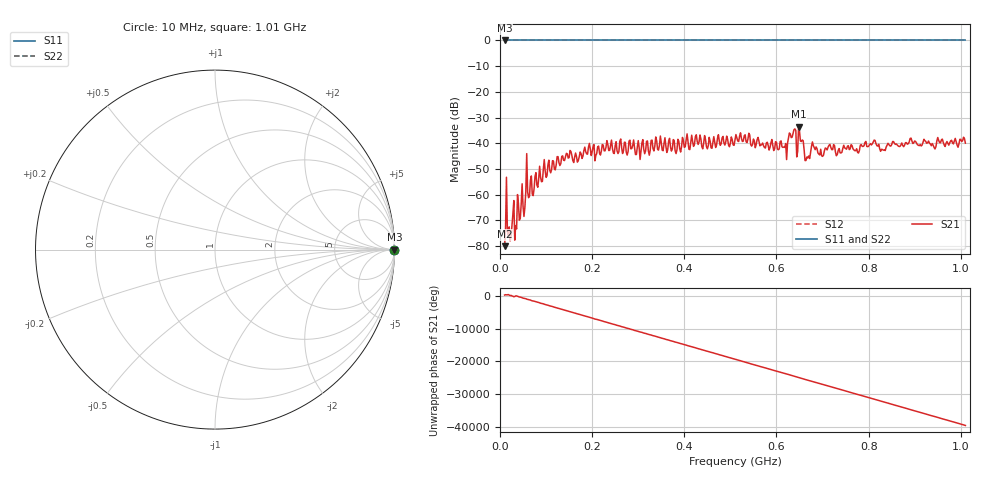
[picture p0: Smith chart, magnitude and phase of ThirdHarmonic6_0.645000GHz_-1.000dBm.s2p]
! 8/15/2025 9:23:03 PM
! C:\ANRITSUVNA\TEMP\TEMP.S2P
! CHANNEL.1
! TR.MEASUREMENT
! RAW.DATA
! RF.CORRECTION.OFF
! AVERAGING.OFF
! IF.BANDWIDTH: 5KHZ
! SWEEPTYPE:  FREQ.SWEEP(Linear)
! Reference Plane Port Info
! PORT:  PORT1  PORT2
! DISTANCE:  0  m  0  m
! TIME:  0  s  0  s
! PHASE.OFFSET:  0  deg.  0  deg.
! LOSS:  0  dB  0  dB
! REF.LOSS:  0  dB  0  dB
! REF.FREQ:  0  Hz  0  Hz
! Power Info
! POWER:  -20  dBm  -20  dBm
! EFF.POWER:  -20  dBm  -20  dBm
! SOURCE.ATTEN:  0  dB  0  dB
! TEST.ATTEN:  0  dB  0  dB
# GHZ S RI R 50.0
! FREQ.GHZ  S11RE  S11IM  S21RE  S21IM  S12RE  S12IM  S22RE  S22IM
!; PortSelection: Port_12
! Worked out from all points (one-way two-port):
!   501 points, 10 MHz to 1.01 GHz, reference 50 ohm
!   highest |S21| = -33.50 dB at 648 MHz (marker M1); lowest = -80.0 dB at 10 MHz (marker M2)
!   lowest |S11| = 0.0 dB at 10 MHz (marker M3)
!   |S11| at or under -10 dB: nowhere
!   |S22| runs from 0.0 to 0.0 dB; largest |S21 - S12| = 1
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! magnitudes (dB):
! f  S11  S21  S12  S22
! 10 MHz  0.0  -80.0  0.0  0.0
! 16 MHz  0.0  -73.9  0.0  0.0
! 20 MHz  0.0  -72.5  0.0  0.0
! 22 MHz  0.0  -78.0  0.0  0.0
! 62 MHz  0.0  -61.2  0.0  0.0
! 68 MHz  0.0  -52.7  0.0  0.0
! 100 MHz  0.0  -53.3  0.0  0.0
! 148 MHz  0.0  -45.8  0.0  0.0
! 178 MHz  0.0  -45.9  0.0  0.0
! 344 MHz  0.0  -42.7  0.0  0.0
! 510 MHz  0.0  -38.7  0.0  0.0
! 618 MHz  0.0  -41.6  0.0  0.0
! 638 MHz  0.0  -34.7  0.0  0.0
! 648 MHz  0.0  -33.5  0.0  0.0
! 652 MHz  0.0  -39.1  0.0  0.0
! 666 MHz  0.0  -45.3  0.0  0.0
! 678 MHz  0.0  -39.5  0.0  0.0
! 698 MHz  0.0  -44.9  0.0  0.0
! 714 MHz  0.0  -40.8  0.0  0.0
! 734 MHz  0.0  -42.8  0.0  0.0
! 844 MHz  0.0  -40.5  0.0  0.0
! 1.01 GHz  0.0  -40.0  0.0  0.0
